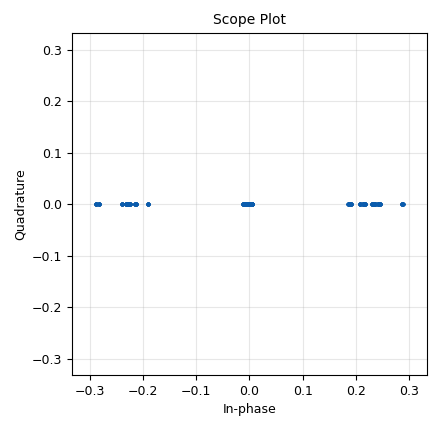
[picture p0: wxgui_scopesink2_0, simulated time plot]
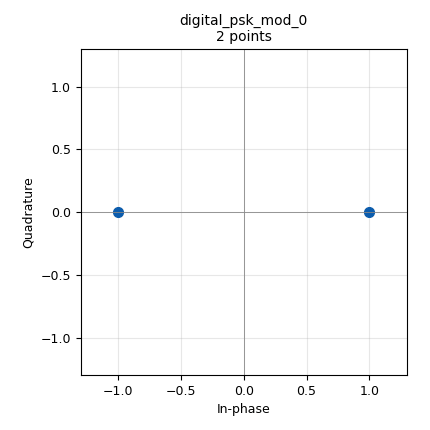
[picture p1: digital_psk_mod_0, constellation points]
<?xml version='1.0' encoding='utf-8'?>
<flow_graph>
<block>
<key>variable_chooser</key>
<param><key>id</key><value>pilot</value></param>
<param><key>label</key><value></value></param>
<param><key>value</key><value>0</value></param>
<param><key>choices</key><value>[0,1]</value></param>
<param><key>labels</key><value>['Transmit Pilot','Transmit File']</value></param>
<param><key>type</key><value>drop_down</value></param>
<param><key>style</key><value>wx.RA_HORIZONTAL</value></param>
</block>
<block>
<key>variable</key>
<param><key>id</key><value>samp_rate</value></param>
<param><key>value</key><value>.768e6</value></param>
</block>
<block>
<key>variable</key>
<param><key>id</key><value>samp_per_sym</value></param>
<param><key>value</key><value>2</value></param>
</block>
<block>
<key>variable</key>
<param><key>id</key><value>fc</value></param>
<param><key>value</key><value>125.5e6</value></param>
</block>
<block>
<key>variable</key>
<param><key>id</key><value>mod</value></param>
<param><key>_enabled</key><value>False</value></param>
<param><key>value</key><value>2</value></param>
</block>
<block>
<key>variable</key>
<param><key>id</key><value>rcc_taps</value></param>
<param><key>value</key><value>firdes.root_raised_cosine(nfilts, nfilts, 1.0/ float(samp_per_sym), 0.7,11*samp_per_sym*nfilts)</value></param>
</block>
<block>
<key>variable</key>
<param><key>id</key><value>nfilts</value></param>
<param><key>value</key><value>128</value></param>
</block>
<block>
<key>variable_text_box</key>
<param><key>id</key><value>cent_freq</value></param>
<param><key>label</key><value></value></param>
<param><key>value</key><value>910e6</value></param>
<param><key>converver</key><value>float_converter</value></param>
<param><key>formatter</key><value>None</value></param>
</block>
<block>
<key>blocks_throttle</key>
<param><key>id</key><value>blocks_throttle_0_0_0_0</value></param>
<param><key>type</key><value>byte</value></param>
<param><key>samples_per_second</key><value>samp_rate</value></param>
</block>
<block>
<key>digital_psk_mod</key>
<param><key>id</key><value>digital_psk_mod_0</value></param>
<param><key>constellation_points</key><value>pow(2,mod)</value></param>
<param><key>mod_code</key><value>"gray"</value></param>
<param><key>differential</key><value>True</value></param>
<param><key>samples_per_symbol</key><value>samp_per_sym</value></param>
<param><key>excess_bw</key><value>0.7</value></param>
</block>
<block>
<key>blocks_vector_source_x</key>
<param><key>id</key><value>BPSK_pilot_seq</value></param>
<param><key>type</key><value>byte</value></param>
<param><key>vector</key><value>(0b00101001,0b11001011,0b11010011,0b10010100)</value></param>
<param><key>repeat</key><value>True</value></param>
</block>
<block>
<key>variable_chooser</key>
<param><key>id</key><value>mod</value></param>
<param><key>label</key><value></value></param>
<param><key>value</key><value>1</value></param>
<param><key>choices</key><value>[1,2,3]</value></param>
<param><key>labels</key><value>['BPSK','QPSK','8PSK']</value></param>
<param><key>type</key><value>drop_down</value></param>
<param><key>style</key><value>wx.RA_HORIZONTAL</value></param>
</block>
<block>
<key>options</key>
<param><key>id</key><value>top_block</value></param>
<param><key>generate_options</key><value>wx_gui</value></param>
<param><key>category</key><value>Custom</value></param>
</block>
<block>
<key>blocks_multiply_const_vxx</key>
<param><key>id</key><value>blocks_multiply_const_vxx_0</value></param>
<param><key>type</key><value>complex</value></param>
<param><key>const</key><value>.2</value></param>
</block>
<block>
<key>wxgui_scopesink2</key>
<param><key>id</key><value>wxgui_scopesink2_0</value></param>
<param><key>type</key><value>complex</value></param>
<param><key>title</key><value>Scope Plot</value></param>
<param><key>samp_rate</key><value>samp_rate</value></param>
<param><key>v_scale</key><value>0</value></param>
<param><key>v_offset</key><value>0</value></param>
<param><key>t_scale</key><value>0</value></param>
<param><key>ac_couple</key><value>False</value></param>
<param><key>xy_mode</key><value>True</value></param>
<param><key>num_inputs</key><value>1</value></param>
<param><key>trig_mode</key><value>wxgui.TRIG_MODE_AUTO</value></param>
<param><key>y_axis_label</key><value>Counts</value></param>
</block>
<connection><source_block_id>blocks_throttle_0_0_0_0</source_block_id><sink_block_id>digital_psk_mod_0</sink_block_id><source_key>0</source_key><sink_key>0</sink_key></connection>
<connection><source_block_id>BPSK_pilot_seq</source_block_id><sink_block_id>blocks_throttle_0_0_0_0</sink_block_id><source_key>0</source_key><sink_key>0</sink_key></connection>
<connection><source_block_id>digital_psk_mod_0</source_block_id><sink_block_id>blocks_multiply_const_vxx_0</sink_block_id><source_key>0</source_key><sink_key>0</sink_key></connection>
<connection><source_block_id>blocks_multiply_const_vxx_0</source_block_id><sink_block_id>wxgui_scopesink2_0</sink_block_id><source_key>0</source_key><sink_key>0</sink_key></connection>
</flow_graph>
